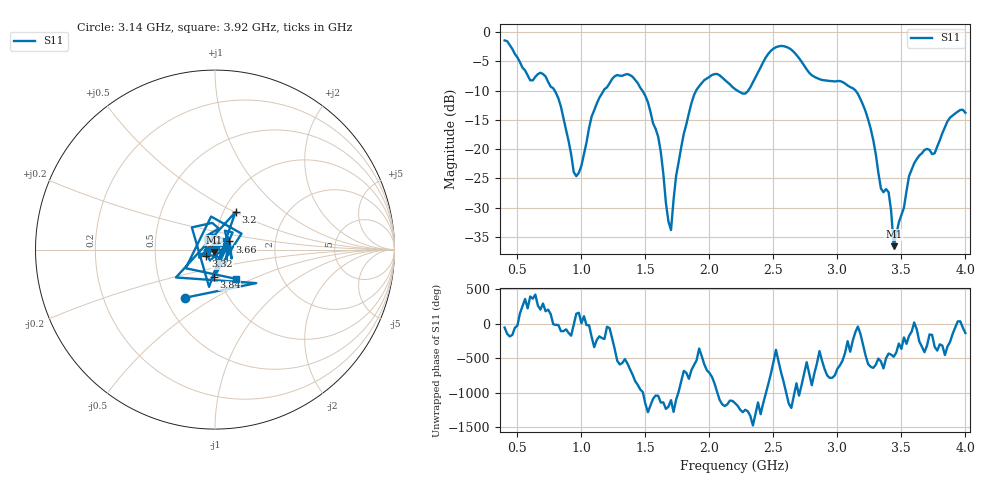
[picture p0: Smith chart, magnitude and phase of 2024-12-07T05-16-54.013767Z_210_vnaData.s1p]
!Created with skrf (http://scikit-rf.org).
# Hz S RI R 50.0
!freq ReS11 ImS11
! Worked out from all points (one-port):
!   181 points, 400 MHz to 4 GHz, reference 50 ohm
!   lowest |S11| = -36.6 dB at 3.44 GHz (marker M1), VSWR 1.03, Z = 49.3 - j1.29 ohm
!   |S11| at or under -10 dB: 790.6 MHz to 1.174 GHz (383.5 MHz wide, 39 % of centre); 1.476 GHz to 1.897 GHz (421.3 MHz wide, 25 % of centre); 3.141 GHz to end of sweep (the widest 3 of 4)
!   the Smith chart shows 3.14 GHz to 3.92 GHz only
!   S11 on the Smith chart (normalised r, x): 3.14 GHz: 0.62, -0.37; 3.2 GHz: 1.14, +0.51; 3.32 GHz: 0.90, -0.07; 3.66 GHz: 1.17, +0.11; 3.84 GHz: 0.94, -0.29; 3.92 GHz: 1.19, -0.41
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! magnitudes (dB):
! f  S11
! 400 MHz  -1.5
! 600 MHz  -8.3
! 720 MHz  -7.6
! 860 MHz  -14.8
! 960 MHz  -24.6
! 1.12 GHz  -12.2
! 1.3 GHz  -7.5
! 1.52 GHz  -12.0
! 1.6 GHz  -17.9
! 1.7 GHz  -33.8
! 1.76 GHz  -22.2
! 1.92 GHz  -9.3
! 2.2 GHz  -9.7
! 2.3 GHz  -10.1
! 2.5 GHz  -2.9
! 2.66 GHz  -3.4
! 3.1 GHz  -9.4
! 3.14 GHz  -10.0
! 3.2 GHz  -12.4
! 3.32 GHz  -24.0
! 3.4 GHz  -27.3
! 3.44 GHz  -36.6
! 3.56 GHz  -24.6
! 3.66 GHz  -20.7
! 3.76 GHz  -20.7
! 3.84 GHz  -16.3
! 3.92 GHz  -13.9
! 4 GHz  -13.8
